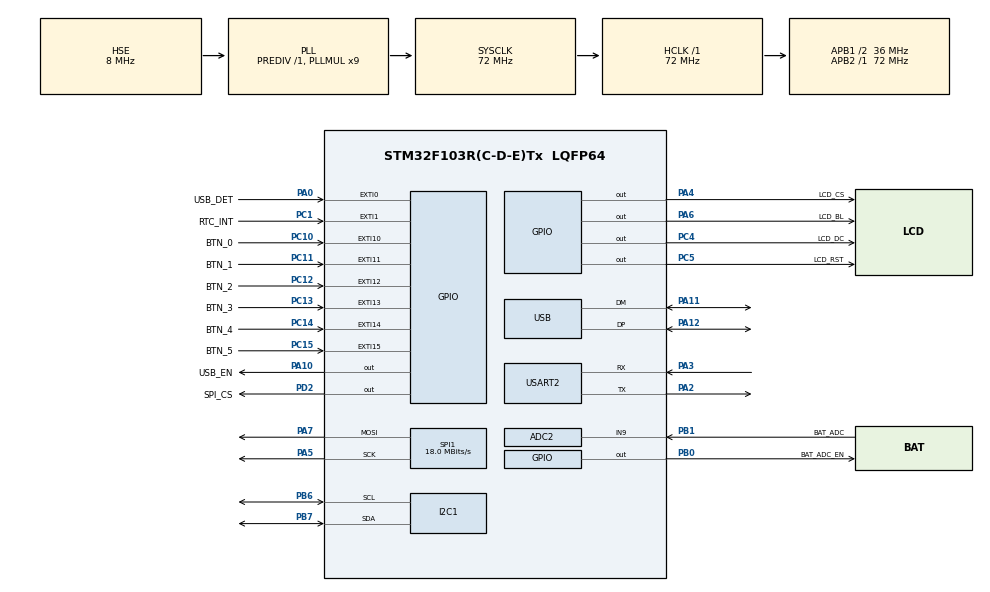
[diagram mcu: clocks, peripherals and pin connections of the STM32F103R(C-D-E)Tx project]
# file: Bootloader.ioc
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ADC1.Channel-5\#ChannelRegularConversion=ADC_CHANNEL_9
ADC1.NbrOfConversionFlag=1
ADC1.Rank-5\#ChannelRegularConversion=1
ADC1.SamplingTime-5\#ChannelRegularConversion=ADC_SAMPLETIME_1CYCLE_5
ADC1.master=1
ADC2.Channel-0\#ChannelRegularConversion=ADC_CHANNEL_9
ADC2.NbrOfConversionFlag=1
ADC2.Rank-0\#ChannelRegularConversion=1
ADC2.SamplingTime-0\#ChannelRegularConversion=ADC_SAMPLETIME_1CYCLE_5
I2C1.I2C_Mode=I2C_Fast
Mcu.Family=STM32F1
Mcu.Name=STM32F103R(C-D-E)Tx
Mcu.Package=LQFP64
NVIC.EXTI0_IRQn=true\:0\:0\:false\:false\:true\:true\:true\:true
NVIC.EXTI15_10_IRQn=true\:0\:0\:false\:false\:true\:true\:true\:true
NVIC.EXTI1_IRQn=true\:0\:0\:false\:false\:true\:true\:true\:true
NVIC.PriorityGroup=NVIC_PRIORITYGROUP_4
NVIC.USB_LP_CAN1_RX0_IRQn=true\:1\:0\:true\:false\:true\:false\:true\:true
PA0-WKUP.GPIO_Label=USB_DET
PA0-WKUP.GPIO_ModeDefaultEXTI=GPIO_MODE_IT_RISING_FALLING
PA0-WKUP.Signal=GPXTI0
PA10.GPIO_Label=USB_EN
PA10.Signal=GPIO_Output
PA11.Mode=Device
PA11.Signal=USB_DM
PA12.Mode=Device
PA12.Signal=USB_DP
PA13.Mode=Serial_Wire
PA13.Signal=SYS_JTMS-SWDIO
PA14.Mode=Serial_Wire
PA14.Signal=SYS_JTCK-SWCLK
PA2.Mode=Asynchronous
PA2.Signal=USART2_TX
PA3.Mode=Asynchronous
PA3.Signal=USART2_RX
PA4.GPIO_Label=LCD_CS
PA4.PinState=GPIO_PIN_SET
PA4.Signal=GPIO_Output
PA5.Mode=TX_Only_Simplex_Unidirect_Master
PA5.Signal=SPI1_SCK
PA6.GPIO_Label=LCD_BL
PA6.PinState=GPIO_PIN_SET
PA6.Signal=GPIO_Output
PA7.Mode=TX_Only_Simplex_Unidirect_Master
PA7.Signal=SPI1_MOSI
PB0.GPIO_Label=BAT_ADC_EN
PB0.PinState=GPIO_PIN_SET
PB0.Signal=GPIO_Output
PB1.GPIO_Label=BAT_ADC
PB1.Signal=ADCx_IN9
PB6.GPIO_Speed=GPIO_SPEED_FREQ_MEDIUM
PB6.Mode=I2C
PB6.Signal=I2C1_SCL
PB7.GPIO_Speed=GPIO_SPEED_FREQ_MEDIUM
PB7.Mode=I2C
PB7.Signal=I2C1_SDA
PC1.GPIO_Label=RTC_INT
PC1.GPIO_ModeDefaultEXTI=GPIO_MODE_IT_FALLING
PC1.Signal=GPXTI1
PC10.GPIO_Label=BTN_0
PC10.Signal=GPXTI10
PC11.GPIO_Label=BTN_1
PC11.Signal=GPXTI11
PC12.GPIO_Label=BTN_2
PC12.Signal=GPXTI12
PC13-TAMPER-RTC.GPIO_Label=BTN_3
PC13-TAMPER-RTC.Signal=GPXTI13
PC14-OSC32_IN.GPIO_Label=BTN_4
PC14-OSC32_IN.Signal=GPXTI14
PC15-OSC32_OUT.GPIO_Label=BTN_5
PC15-OSC32_OUT.Signal=GPXTI15
PC4.GPIO_Label=LCD_DC
PC4.Signal=GPIO_Output
PC5.GPIO_Label=LCD_RST
PC5.Signal=GPIO_Output
PD0-OSC_IN.Mode=HSE-External-Oscillator
PD0-OSC_IN.Signal=RCC_OSC_IN
PD1-OSC_OUT.Mode=HSE-External-Oscillator
PD1-OSC_OUT.Signal=RCC_OSC_OUT
PD2.GPIO_Label=SPI_CS
PD2.PinState=GPIO_PIN_SET
PD2.Signal=GPIO_Output
ProjectManager.HeapSize=0x800
ProjectManager.StackSize=0x1000
ProjectManager.TargetToolchain=Makefile
RCC.ADCPresc=RCC_ADCPCLK2_DIV8
RCC.AHBFreq_Value=72000000
RCC.APB1CLKDivider=RCC_HCLK_DIV2
RCC.APB1Freq_Value=36000000
RCC.APB1TimFreq_Value=72000000
RCC.APB2Freq_Value=72000000
RCC.APB2TimFreq_Value=72000000
RCC.HCLKFreq_Value=72000000
RCC.PLLMUL=RCC_PLL_MUL9
RCC.SYSCLKFreq_VALUE=72000000
RCC.SYSCLKSource=RCC_SYSCLKSOURCE_PLLCLK
RCC.USBFreq_Value=48000000
RCC.USBPrescaler=RCC_USBCLKSOURCE_PLL_DIV1_5
SH.ADCx_IN9.0=ADC2_IN9,IN9
SH.ADCx_IN9.1=ADC1_IN9,IN9
SPI1.BaudRatePrescaler=SPI_BAUDRATEPRESCALER_4
SPI1.CalculateBaudRate=18.0 MBits/s
SPI1.Direction=SPI_DIRECTION_2LINES
SPI1.Mode=SPI_MODE_MASTER
SPI1.VirtualType=VM_MASTER
USART2.VirtualMode=VM_ASYNC
USB_DEVICE.CLASS_NAME_FS=DFU
USB_DEVICE.USBD_DFU_APP_DEFAULT_ADD=0x08010000
USB_DEVICE.USBD_DFU_MEDIA=@Internal Flash   /0x08000000/04*016Ka,28*016Kg
USB_DEVICE.VirtualMode=Dfu
USB_DEVICE.VirtualModeFS=Dfu_FS
VP_USB_DEVICE_VS_USB_DEVICE_DFU_FS.Mode=DFU_FS
board=custom

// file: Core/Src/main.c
/* USER CODE BEGIN Header */
/**
  ******************************************************************************
  * @file           : main.c
  * @brief          : Main program body
  ******************************************************************************
  * @attention
  *
  * Copyright (c) 2022 STMicroelectronics.
  * All rights reserved.
  *
  * This software is licensed under terms that can be found in the LICENSE file
  * in the root directory of this software component.
  * If no LICENSE file comes with this software, it is provided AS-IS.
  *
  ******************************************************************************
  */
/* USER CODE END Header */
#include "main.h"
#include "usb_device.h"

/* USER CODE BEGIN Includes */
#include "stdbool.h"
#include "lcd.h"
#include "rx8025t.h"
#include "printf.h"
/* USER CODE END Includes */

 ADC_HandleTypeDef hadc1;
ADC_HandleTypeDef hadc2;

I2C_HandleTypeDef hi2c1;

SPI_HandleTypeDef hspi1;

UART_HandleTypeDef huart2;

/* USER CODE BEGIN PV */
u8g2_t u8g2;
char tmpstr[] = "0123456789abcdef0123456789abcdef0123456789abcdef\0";
const char *dowStr[] = {"Sun", "Mon", "Tue", "Wed", "Thu", "Fri", "Sat", "Err"};
const char *builtTime = __DATE__ "," __TIME__;

_RTC rtc = {
	.Year = 22, .Month = 7, .Date = 3, .DaysOfWeek = SUNDAY, .Hour = 13, .Min = 25, .Sec = 22};
__IO uint8_t rtcIntFlag = 0;
/* USER CODE END PV */

void SystemClock_Config(void);
static void MX_GPIO_Init(void);
static void MX_ADC1_Init(void);
static void MX_I2C1_Init(void);
static void MX_SPI1_Init(void);
static void MX_USART2_UART_Init(void);
static void MX_ADC2_Init(void);
/* USER CODE BEGIN PFP */
bool IsAppExist(void);
bool IsKeyPressed(void);

void RunApp(void);

typedef void (*pFunction)(void);
pFunction JumpToApplication;
uint32_t JumpAddress;

/* USER CODE END PFP */

/* USER CODE BEGIN 0 */
void _putchar(char character)
{
	HAL_UART_Transmit(&huart2, (uint8_t*)&character, 1, 5);
}
/* USER CODE END 0 */

int main(void)
{

  /* MCU Configuration--------------------------------------------------------*/

  /* Reset of all peripherals, Initializes the Flash interface and the Systick. */
  HAL_Init();

  /* Configure the system clock */
  SystemClock_Config();

  /* USER CODE BEGIN SysInit */
	MX_GPIO_Init();
#if 1
	if(IsAppExist() && !IsKeyPressed())
	{
		//RunApp();	//this will cost more flash space
		JumpAddress = *(__IO uint32_t*)(USBD_DFU_APP_DEFAULT_ADD + 4);
		JumpToApplication = (pFunction) JumpAddress;
		__set_MSP(*(__IO uint32_t*)USBD_DFU_APP_DEFAULT_ADD);
		JumpToApplication();
	}
#endif
  /* USER CODE END SysInit */

  /* Initialize all configured peripherals */
  MX_GPIO_Init();
  MX_ADC1_Init();
  MX_I2C1_Init();
  MX_SPI1_Init();
  MX_USB_DEVICE_Init();
  MX_USART2_UART_Init();
  MX_ADC2_Init();
  /* USER CODE BEGIN 2 */
	HAL_GPIO_WritePin(USB_EN_GPIO_Port, USB_EN_Pin, GPIO_PIN_SET);
	HAL_GPIO_WritePin(LCD_BL_GPIO_Port, LCD_BL_Pin, GPIO_PIN_RESET);

	printf("Bootloader start, tick: %lu.\n", HAL_GetTick());
	printf("Hardware: %s.\n", HARDWARE_VERSION);
	printf("Firmware: %s.\n", FIRMWARE_VERSION);
	printf("Built: %s.\n\n", builtTime);

	u8g2Init(&u8g2);

	u8g2_DrawLine(&u8g2, 0, 11, 127, 11);

	u8g2_SetFont(&u8g2, u8g2_font_7x14B_tr);

	sprintf(tmpstr, "Timer V2.0 BL");
	u8g2_DrawStr(&u8g2, 16, 10, tmpstr);
	u8g2_SendBuffer(&u8g2);
	HAL_Delay(200);

	RX8025T_Init(&hi2c1);
	RX8025T_SetINTPerSec();
	// RX8025T_SetINTPerMin();
	RX8025T_GetTime(&rtc);
	//RX8025T_SetTime(&rtc);

  /* USER CODE END 2 */

  /* Infinite loop */
  while (1)
  {

    /* USER CODE BEGIN 3 */
	if (rtcIntFlag != 0)
	{
		rtcIntFlag = 0;
		RX8025T_GetTime(&rtc);

		u8g2_ClearBuffer(&u8g2);
		//sprintf(tmpstr, "%02d:%02d", rtc.Hour, rtc.Min);
		//u8g2_SetFont(&u8g2, u8g2_font_osb26_tr);
		//u8g2_DrawStr(&u8g2, 18, 44, tmpstr);
		sprintf(tmpstr, "DFU Bootloader");
		u8g2_DrawStr(&u8g2, 16, 10, tmpstr);
		u8g2_DrawLine(&u8g2, 0, 11, 127, 11);

		sprintf(tmpstr, "%02d:%02d:%02d", rtc.Hour, rtc.Min, rtc.Sec);
		u8g2_SetFont(&u8g2, u8g2_font_osb21_tr);
		u8g2_DrawStr(&u8g2, 8, 44, tmpstr);

		sprintf(tmpstr, "20%02d-%02d-%02d", rtc.Year, rtc.Month, rtc.Date);
		// u8g2_SetFont(&u8g2, u8g2_font_6x10_tr);
		u8g2_SetFont(&u8g2, u8g2_font_7x14B_tr);
		u8g2_DrawStr(&u8g2, 0, 63, tmpstr);

		sprintf(tmpstr, "%s", dowStr[rtc.DaysOfWeek]);
		u8g2_DrawStr(&u8g2, 106, 63, tmpstr);
		u8g2_SendBuffer(&u8g2);

		//sprintf(tmpstr, "Built:");
		//u8g2_DrawStr(&u8g2, 0, 44, tmpstr);
		//sprintf(tmpstr, "%s", builtTime);
		//u8g2_DrawStr(&u8g2, 0, 54, tmpstr);
	}

  }
  /* USER CODE END 3 */
}

void SystemClock_Config(void)
{
  RCC_OscInitTypeDef RCC_OscInitStruct = {0};
  RCC_ClkInitTypeDef RCC_ClkInitStruct = {0};
  RCC_PeriphCLKInitTypeDef PeriphClkInit = {0};

  /** Initializes the RCC Oscillators according to the specified parameters
  * in the RCC_OscInitTypeDef structure.
  */
  RCC_OscInitStruct.OscillatorType = RCC_OSCILLATORTYPE_HSE;
  RCC_OscInitStruct.HSEState = RCC_HSE_ON;
  RCC_OscInitStruct.HSEPredivValue = RCC_HSE_PREDIV_DIV1;
  RCC_OscInitStruct.HSIState = RCC_HSI_ON;
  RCC_OscInitStruct.PLL.PLLState = RCC_PLL_ON;
  RCC_OscInitStruct.PLL.PLLSource = RCC_PLLSOURCE_HSE;
  RCC_OscInitStruct.PLL.PLLMUL = RCC_PLL_MUL9;
  if (HAL_RCC_OscConfig(&RCC_OscInitStruct) != HAL_OK)
  {
    Error_Handler();
  }

  /** Initializes the CPU, AHB and APB buses clocks
  */
  RCC_ClkInitStruct.ClockType = RCC_CLOCKTYPE_HCLK|RCC_CLOCKTYPE_SYSCLK
                              |RCC_CLOCKTYPE_PCLK1|RCC_CLOCKTYPE_PCLK2;
  RCC_ClkInitStruct.SYSCLKSource = RCC_SYSCLKSOURCE_PLLCLK;
  RCC_ClkInitStruct.AHBCLKDivider = RCC_SYSCLK_DIV1;
  RCC_ClkInitStruct.APB1CLKDivider = RCC_HCLK_DIV2;
  RCC_ClkInitStruct.APB2CLKDivider = RCC_HCLK_DIV1;

  if (HAL_RCC_ClockConfig(&RCC_ClkInitStruct, FLASH_LATENCY_2) != HAL_OK)
  {
    Error_Handler();
  }
  PeriphClkInit.PeriphClockSelection = RCC_PERIPHCLK_ADC|RCC_PERIPHCLK_USB;
  PeriphClkInit.AdcClockSelection = RCC_ADCPCLK2_DIV8;
  PeriphClkInit.UsbClockSelection = RCC_USBCLKSOURCE_PLL_DIV1_5;
  if (HAL_RCCEx_PeriphCLKConfig(&PeriphClkInit) != HAL_OK)
  {
    Error_Handler();
  }
}

static void MX_ADC1_Init(void)
{

  ADC_ChannelConfTypeDef sConfig = {0};

  /** Common config
  */
  hadc1.Instance = ADC1;
  hadc1.Init.ScanConvMode = ADC_SCAN_DISABLE;
  hadc1.Init.ContinuousConvMode = DISABLE;
  hadc1.Init.DiscontinuousConvMode = DISABLE;
  hadc1.Init.ExternalTrigConv = ADC_SOFTWARE_START;
  hadc1.Init.DataAlign = ADC_DATAALIGN_RIGHT;
  hadc1.Init.NbrOfConversion = 1;
  if (HAL_ADC_Init(&hadc1) != HAL_OK)
  {
    Error_Handler();
  }

  /** Configure Regular Channel
  */
  sConfig.Channel = ADC_CHANNEL_9;
  sConfig.Rank = ADC_REGULAR_RANK_1;
  sConfig.SamplingTime = ADC_SAMPLETIME_1CYCLE_5;
  if (HAL_ADC_ConfigChannel(&hadc1, &sConfig) != HAL_OK)
  {
    Error_Handler();
  }

}

static void MX_ADC2_Init(void)
{

  ADC_ChannelConfTypeDef sConfig = {0};

  /** Common config
  */
  hadc2.Instance = ADC2;
  hadc2.Init.ScanConvMode = ADC_SCAN_DISABLE;
  hadc2.Init.ContinuousConvMode = DISABLE;
  hadc2.Init.DiscontinuousConvMode = DISABLE;
  hadc2.Init.ExternalTrigConv = ADC_SOFTWARE_START;
  hadc2.Init.DataAlign = ADC_DATAALIGN_RIGHT;
  hadc2.Init.NbrOfConversion = 1;
  if (HAL_ADC_Init(&hadc2) != HAL_OK)
  {
    Error_Handler();
  }

  /** Configure Regular Channel
  */
  sConfig.Channel = ADC_CHANNEL_9;
  sConfig.Rank = ADC_REGULAR_RANK_1;
  sConfig.SamplingTime = ADC_SAMPLETIME_1CYCLE_5;
  if (HAL_ADC_ConfigChannel(&hadc2, &sConfig) != HAL_OK)
  {
    Error_Handler();
  }

}

static void MX_I2C1_Init(void)
{

  hi2c1.Instance = I2C1;
  hi2c1.Init.ClockSpeed = 400000;
  hi2c1.Init.DutyCycle = I2C_DUTYCYCLE_2;
  hi2c1.Init.OwnAddress1 = 0;
  hi2c1.Init.AddressingMode = I2C_ADDRESSINGMODE_7BIT;
  hi2c1.Init.DualAddressMode = I2C_DUALADDRESS_DISABLE;
  hi2c1.Init.OwnAddress2 = 0;
  hi2c1.Init.GeneralCallMode = I2C_GENERALCALL_DISABLE;
  hi2c1.Init.NoStretchMode = I2C_NOSTRETCH_DISABLE;
  if (HAL_I2C_Init(&hi2c1) != HAL_OK)
  {
    Error_Handler();
  }

}

static void MX_SPI1_Init(void)
{

  /* SPI1 parameter configuration*/
  hspi1.Instance = SPI1;
  hspi1.Init.Mode = SPI_MODE_MASTER;
  hspi1.Init.Direction = SPI_DIRECTION_2LINES;
  hspi1.Init.DataSize = SPI_DATASIZE_8BIT;
  hspi1.Init.CLKPolarity = SPI_POLARITY_LOW;
  hspi1.Init.CLKPhase = SPI_PHASE_1EDGE;
  hspi1.Init.NSS = SPI_NSS_SOFT;
  hspi1.Init.BaudRatePrescaler = SPI_BAUDRATEPRESCALER_4;
  hspi1.Init.FirstBit = SPI_FIRSTBIT_MSB;
  hspi1.Init.TIMode = SPI_TIMODE_DISABLE;
  hspi1.Init.CRCCalculation = SPI_CRCCALCULATION_DISABLE;
  hspi1.Init.CRCPolynomial = 10;
  if (HAL_SPI_Init(&hspi1) != HAL_OK)
  {
    Error_Handler();
  }

}

static void MX_USART2_UART_Init(void)
{

  huart2.Instance = USART2;
  huart2.Init.BaudRate = 115200;
  huart2.Init.WordLength = UART_WORDLENGTH_8B;
  huart2.Init.StopBits = UART_STOPBITS_1;
  huart2.Init.Parity = UART_PARITY_NONE;
  huart2.Init.Mode = UART_MODE_TX_RX;
  huart2.Init.HwFlowCtl = UART_HWCONTROL_NONE;
  huart2.Init.OverSampling = UART_OVERSAMPLING_16;
  if (HAL_UART_Init(&huart2) != HAL_OK)
  {
    Error_Handler();
  }

}

static void MX_GPIO_Init(void)
{
  GPIO_InitTypeDef GPIO_InitStruct = {0};

  /* GPIO Ports Clock Enable */
  __HAL_RCC_GPIOC_CLK_ENABLE();
  __HAL_RCC_GPIOD_CLK_ENABLE();
  __HAL_RCC_GPIOA_CLK_ENABLE();
  __HAL_RCC_GPIOB_CLK_ENABLE();

  /*Configure GPIO pin Output Level */
  HAL_GPIO_WritePin(GPIOA, LCD_CS_Pin|LCD_BL_Pin, GPIO_PIN_SET);

  /*Configure GPIO pin Output Level */
  HAL_GPIO_WritePin(GPIOC, LCD_DC_Pin|LCD_RST_Pin, GPIO_PIN_RESET);

  /*Configure GPIO pin Output Level */
  HAL_GPIO_WritePin(BAT_ADC_EN_GPIO_Port, BAT_ADC_EN_Pin, GPIO_PIN_SET);

  /*Configure GPIO pin Output Level */
  HAL_GPIO_WritePin(USB_EN_GPIO_Port, USB_EN_Pin, GPIO_PIN_RESET);

  /*Configure GPIO pin Output Level */
  HAL_GPIO_WritePin(SPI_CS_GPIO_Port, SPI_CS_Pin, GPIO_PIN_SET);

  /*Configure GPIO pins : BTN_3_Pin BTN_4_Pin BTN_5_Pin BTN_0_Pin
                           BTN_1_Pin BTN_2_Pin */
  GPIO_InitStruct.Pin = BTN_3_Pin|BTN_4_Pin|BTN_5_Pin|BTN_0_Pin
                          |BTN_1_Pin|BTN_2_Pin;
  GPIO_InitStruct.Mode = GPIO_MODE_IT_RISING;
  GPIO_InitStruct.Pull = GPIO_NOPULL;
  HAL_GPIO_Init(GPIOC, &GPIO_InitStruct);

  /*Configure GPIO pins : PC0 PC2 PC3 PC6
                           PC7 PC8 PC9 */
  GPIO_InitStruct.Pin = GPIO_PIN_0|GPIO_PIN_2|GPIO_PIN_3|GPIO_PIN_6
                          |GPIO_PIN_7|GPIO_PIN_8|GPIO_PIN_9;
  GPIO_InitStruct.Mode = GPIO_MODE_ANALOG;
  HAL_GPIO_Init(GPIOC, &GPIO_InitStruct);

  /*Configure GPIO pin : RTC_INT_Pin */
  GPIO_InitStruct.Pin = RTC_INT_Pin;
  GPIO_InitStruct.Mode = GPIO_MODE_IT_FALLING;
  GPIO_InitStruct.Pull = GPIO_NOPULL;
  HAL_GPIO_Init(RTC_INT_GPIO_Port, &GPIO_InitStruct);

  /*Configure GPIO pin : USB_DET_Pin */
  GPIO_InitStruct.Pin = USB_DET_Pin;
  GPIO_InitStruct.Mode = GPIO_MODE_IT_RISING_FALLING;
  GPIO_InitStruct.Pull = GPIO_NOPULL;
  HAL_GPIO_Init(USB_DET_GPIO_Port, &GPIO_InitStruct);

  /*Configure GPIO pins : PA1 PA8 PA9 PA15 */
  GPIO_InitStruct.Pin = GPIO_PIN_1|GPIO_PIN_8|GPIO_PIN_9|GPIO_PIN_15;
  GPIO_InitStruct.Mode = GPIO_MODE_ANALOG;
  HAL_GPIO_Init(GPIOA, &GPIO_InitStruct);

  /*Configure GPIO pins : LCD_CS_Pin LCD_BL_Pin USB_EN_Pin */
  GPIO_InitStruct.Pin = LCD_CS_Pin|LCD_BL_Pin|USB_EN_Pin;
  GPIO_InitStruct.Mode = GPIO_MODE_OUTPUT_PP;
  GPIO_InitStruct.Pull = GPIO_NOPULL;
  GPIO_InitStruct.Speed = GPIO_SPEED_FREQ_LOW;
  HAL_GPIO_Init(GPIOA, &GPIO_InitStruct);

  /*Configure GPIO pins : LCD_DC_Pin LCD_RST_Pin */
  GPIO_InitStruct.Pin = LCD_DC_Pin|LCD_RST_Pin;
  GPIO_InitStruct.Mode = GPIO_MODE_OUTPUT_PP;
  GPIO_InitStruct.Pull = GPIO_NOPULL;
  GPIO_InitStruct.Speed = GPIO_SPEED_FREQ_LOW;
  HAL_GPIO_Init(GPIOC, &GPIO_InitStruct);

  /*Configure GPIO pin : BAT_ADC_EN_Pin */
  GPIO_InitStruct.Pin = BAT_ADC_EN_Pin;
  GPIO_InitStruct.Mode = GPIO_MODE_OUTPUT_PP;
  GPIO_InitStruct.Pull = GPIO_NOPULL;
  GPIO_InitStruct.Speed = GPIO_SPEED_FREQ_LOW;
  HAL_GPIO_Init(BAT_ADC_EN_GPIO_Port, &GPIO_InitStruct);

  /*Configure GPIO pins : PB2 PB10 PB11 PB12
                           PB13 PB14 PB15 PB3
                           PB4 PB5 PB8 PB9 */
  GPIO_InitStruct.Pin = GPIO_PIN_2|GPIO_PIN_10|GPIO_PIN_11|GPIO_PIN_12
                          |GPIO_PIN_13|GPIO_PIN_14|GPIO_PIN_15|GPIO_PIN_3
                          |GPIO_PIN_4|GPIO_PIN_5|GPIO_PIN_8|GPIO_PIN_9;
  GPIO_InitStruct.Mode = GPIO_MODE_ANALOG;
  HAL_GPIO_Init(GPIOB, &GPIO_InitStruct);

  /*Configure GPIO pin : SPI_CS_Pin */
  GPIO_InitStruct.Pin = SPI_CS_Pin;
  GPIO_InitStruct.Mode = GPIO_MODE_OUTPUT_PP;
  GPIO_InitStruct.Pull = GPIO_NOPULL;
  GPIO_InitStruct.Speed = GPIO_SPEED_FREQ_LOW;
  HAL_GPIO_Init(SPI_CS_GPIO_Port, &GPIO_InitStruct);

  /* EXTI interrupt init*/
  HAL_NVIC_SetPriority(EXTI0_IRQn, 0, 0);
  HAL_NVIC_EnableIRQ(EXTI0_IRQn);

  HAL_NVIC_SetPriority(EXTI1_IRQn, 0, 0);
  HAL_NVIC_EnableIRQ(EXTI1_IRQn);

  HAL_NVIC_SetPriority(EXTI15_10_IRQn, 0, 0);
  HAL_NVIC_EnableIRQ(EXTI15_10_IRQn);

}

/* USER CODE BEGIN 4 */
bool IsAppExist(void)
{
  uint32_t *mem = (uint32_t*)APP_ADDR;

  if ((mem[0] == 0x00000000 || mem[0] == 0xFFFFFFFF)
      &&(mem[1] == 0x00000000 || mem[1] == 0xFFFFFFFF)
      &&(mem[2] == 0x00000000 || mem[2] == 0xFFFFFFFF)
      &&(mem[3] == 0x00000000 || mem[3] == 0xFFFFFFFF))
  {
    return false;
  }
  else
  {
    return true;
  }
}

void RunApp(void)
{
  /* Function pointer to the address of the user application. */

	uint32_t appStack;
	pFunction appEntry;

	//__disable_irq();		//won't work when this execute
  //HAL_NVIC_ClearPendingIRQ(SysTick_IRQn);

	// get the application stack pointer (1st entry in the app vector table)
	appStack = (uint32_t)*((__IO uint32_t*)APP_ADDR);

	// Get the app entry point (2nd entry in the app vector table
	appEntry = (pFunction)*(__IO uint32_t*)(APP_ADDR + 4);

	HAL_RCC_DeInit();
	HAL_DeInit();

	SysTick->CTRL = 0;
	SysTick->LOAD = 0;
	SysTick->VAL  = 0;

	// Reconfigure vector table offset to match the app location
	SCB->VTOR = APP_ADDR;
	__set_MSP(appStack); // Set app stack pointer

	while(IsKeyPressed())
	{
		/* code */
	}
	NVIC_SystemReset();
	appEntry(); // Start the app

	while (1); // never reached
}

bool IsKeyPressed(void)
{
	int key = (HAL_GPIO_ReadPin(BTN_0_GPIO_Port, BTN_0_Pin) == GPIO_PIN_SET)
			|| (HAL_GPIO_ReadPin(BTN_1_GPIO_Port, BTN_1_Pin) == GPIO_PIN_SET)
			|| (HAL_GPIO_ReadPin(BTN_2_GPIO_Port, BTN_2_Pin) == GPIO_PIN_SET)
			|| (HAL_GPIO_ReadPin(BTN_3_GPIO_Port, BTN_3_Pin) == GPIO_PIN_SET)
			|| (HAL_GPIO_ReadPin(BTN_4_GPIO_Port, BTN_4_Pin) == GPIO_PIN_SET)
			|| (HAL_GPIO_ReadPin(BTN_5_GPIO_Port, BTN_5_Pin) == GPIO_PIN_SET);
  return key;
}

void HAL_GPIO_EXTI_Callback(uint16_t GPIO_Pin)
{
	switch (GPIO_Pin)
	{
	case RTC_INT_Pin:
		rtcIntFlag = 1;
		break;
	case USB_DET_Pin:
		//usbDet = (HAL_GPIO_ReadPin(USB_DET_GPIO_Port, USB_DET_Pin) == GPIO_PIN_SET) ? 1 : 0;
		//usbDetFlag = 1;
		//usbTimeout = 8;
		break;
	case BTN_0_Pin:
	case BTN_1_Pin:
	case BTN_2_Pin:
	case BTN_3_Pin:
	case BTN_4_Pin:
	case BTN_5_Pin:
		RunApp();
		break;

	default:
		break;
	}
}

uint16_t Get_BatAdc(void)
{
	uint32_t temp = 0;

	for (uint8_t n = 0; n < 5; n++)
	{
		HAL_ADC_Start(&hadc1);
		if (HAL_ADC_PollForConversion(&hadc1, 20) == HAL_OK)
		{
			temp += HAL_ADC_GetValue(&hadc1);
		}
	}
	return (temp / 5);
}

// 21th century only
// 0=sunday, 1=monday
int CalcDaysOfWeek(int year, int month, int date)
{
	/*
	蔡勒公式�?????????????????

	W = [C/4] - 2C + y + [y/4] + [13 * (M+1) / 5] + d - 1

	C 是世纪数减一，y 是年份后两位，M 是月份，d 是日数�??1 月和 2 月要按上�?????????????????年的 13 月和
	14 月来算，这时 C�????????????????? y均按上一年取值�??

		两个公式中的[...]均指只取计算结果的整数部分�?�算出来的W 除以 7，余数是几就是星�?????????????????
	几�?�如果余数是 0，则为星期日�?????????????????
	*/
	int C = 21 - 1;
	int M = month;
	int y = year;
	int d = date;
	if (M <= 2)
	{
		y = year - 1;
		M = month + 12;
	}
	int W = (C / 4) - 2 * C + y + (y / 4) + (13 * (M + 1) / 5) + d - 1;

	return (W % 7);
}
/* USER CODE END 4 */

void Error_Handler(void)
{
  __disable_irq();
  while (1)
  {
  }
}
